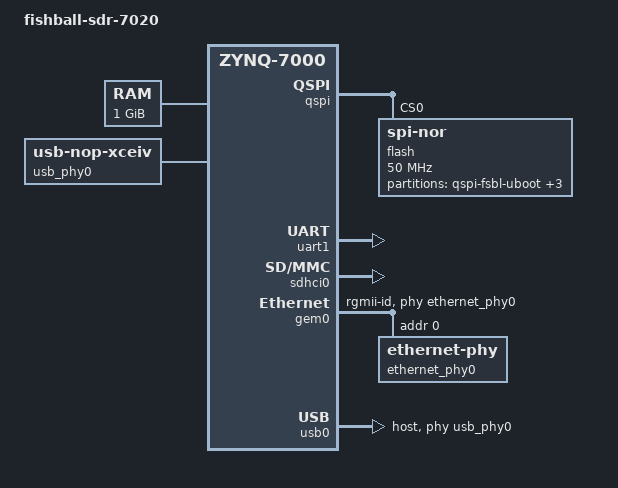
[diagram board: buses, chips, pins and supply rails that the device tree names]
// SPDX-License-Identifier: GPL-2.0+
/*
 * fishball-sdr-7020 u-boot device tree (Zynq-7020 + AD9363).
 * Derived from the ADI Pluto SDR u-boot DTS.
 */
/dts-v1/;
#include "zynq-7000.dtsi"

/ {
	model = "fishball-sdr-7020";
	compatible = "fishball,sdr-7020", "xlnx,zynq-7000";

	aliases {
		ethernet0 = &gem0;
		serial0 = &uart1;
		serial1 = &nulldev;
		spi0 = &qspi;
		mmc0 = &sdhci0;
	};

	memory {
		device_type = "memory";
		reg = <0x0 0x40000000>;
	};

	chosen {
		bootargs = "earlyprintk";
		stdout-path = &uart1;
	};

	usb_phy0: phy0 {
		compatible = "usb-nop-xceiv";
		#phy-cells = <0>;
	};

	nulldev: nulldev {
		compatible = "nulldev-serial";
	};
};

&qspi {
	status = "okay";
	is-dual = <0>;
	num-cs = <1>;
	flash@0 {
		compatible = "jedec,spi-nor";
		reg = <0x0>;
		spi-tx-bus-width = <1>;
		spi-rx-bus-width = <4>;
		spi-max-frequency = <50000000>;
		#address-cells = <1>;
		#size-cells = <1>;
		partition@qspi-fsbl-uboot {
			label = "qspi-fsbl-uboot";
			reg = <0x0 0x100000>; /* 1M */
		};
		partition@qspi-uboot-env {
			label = "qspi-uboot-env";
			reg = <0x100000 0x20000>; /* 128k */
		};
		partition@qspi-nvmfs {
			label = "qspi-nvmfs";
			reg = <0x120000 0xE0000>; /* 1M */
		};
		partition@qspi-linux {
			label = "qspi-linux";
			reg = <0x200000 0xE00000>; /* 14M */
		};
	};
};

&uart1 {
	status = "okay";
};

&sdhci0 {
	status = "okay";
	disable-wp;
	broken-cd;
};

&gem0 {
	status = "okay";
	phy-mode = "rgmii-id";
	phy-handle = <&ethernet_phy0>;

	ethernet_phy0: ethernet-phy@0 {
		reg = <0>;
	};
};

&usb0 {
	status = "okay";
	dr_mode = "host";
	usb-phy = <&usb_phy0>;
};
